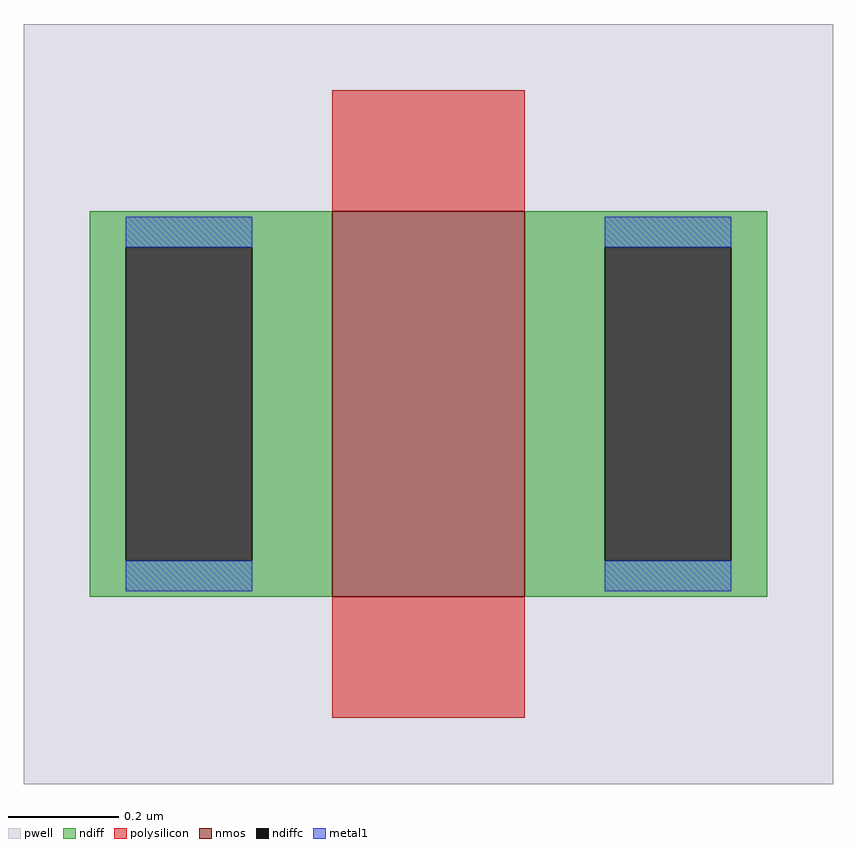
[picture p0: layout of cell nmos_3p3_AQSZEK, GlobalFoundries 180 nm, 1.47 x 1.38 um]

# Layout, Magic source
magic
tech gf180mcuC
magscale 1 10
<< pwell >>
rect -147 -138 147 138
<< nmos >>
rect -35 -70 35 70
<< ndiff >>
rect -123 57 -35 70
rect -123 -57 -110 57
rect -64 -57 -35 57
rect -123 -70 -35 -57
rect 35 57 123 70
rect 35 -57 64 57
rect 110 -57 123 57
rect 35 -70 123 -57
<< ndiffc >>
rect -110 -57 -64 57
rect 64 -57 110 57
<< polysilicon >>
rect -35 70 35 114
rect -35 -114 35 -70
<< metal1 >>
rect -110 57 -64 68
rect -110 -68 -64 -57
rect 64 57 110 68
rect 64 -68 110 -57
<< properties >>
string gencell nmos_3p3
string library gf180mcu
string parameters w 0.7 l 0.35 m 1 nf 1 diffcov 100 polycov 100 guard 0 glc 0 grc 0 gtc 0 gbc 0 tbcov 100 rlcov 100 topc 0 botc 0 poverlap 0 doverlap 1 lmin 0.28 wmin 0.22 full_metal 0 compatible {nmos_3p3 nmos_6p0 nmos_6p0_nat}
<< end >>
